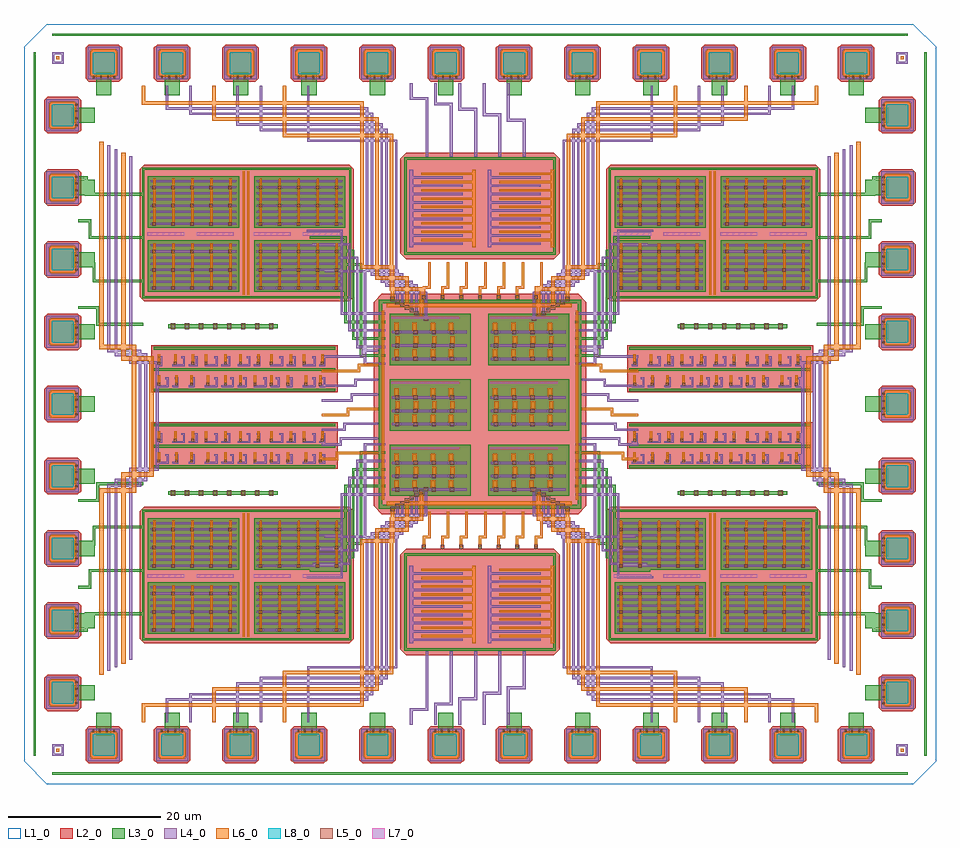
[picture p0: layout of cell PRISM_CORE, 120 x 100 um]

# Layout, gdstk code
from math import pi, radians
import gdstk
lib = gdstk.Library(unit=1e-6, precision=1e-09)
def R(c, l, rs):  # rectangles x0, y0, x1, y1
    for r in rs: c.add(gdstk.rectangle(r[:2], r[2:], *l))
def A(c, l, x, y, w, h, nx, ny, dx, dy):  # array of equal rectangles
    R(c, l, [(x+i*dx, y+j*dy, x+i*dx+w, y+j*dy+h) for i in range(nx) for j in range(ny)])
def P(c, l, *ps):  # polygons
    for p in ps: c.add(gdstk.Polygon(p, *l))
L1_0 = (1, 0)
L2_0 = (2, 0)
L3_0 = (3, 0)
L4_0 = (4, 0)
L5_0 = (5, 0)
L6_0 = (6, 0)
L7_0 = (7, 0)
L8_0 = (8, 0)

io_pad = lib.new_cell('IO_PAD')
P(io_pad, L2_0, [(-1.95,-2.45),(-2.4,-2),(-2.4,2),(-1.95,2.45),(1.95,2.45),(2.4,2),(2.4,-2),(1.95,-2.45)])
R(io_pad, L3_0, [(-1,-4.2,1,-1.2)])
R(io_pad, L4_0, [(-2.12,-2.1,2.12,-1.74), (-2.12,-1.74,-1.76,1.79), (1.76,-1.74,2.12,1.79), (-2.12,1.79,2.12,2.15)])
R(io_pad, L5_0, [(-1.45,-2,-1.22,-1.66), (-0.5,-2,-0.27,-1.66), (0.43,-2,0.66,-1.66), (1.26,-2,1.49,-1.66)])
P(io_pad, L6_0, [(-1.51,-1.8),(-1.8,-1.51),(-1.8,1.51),(-1.51,1.8),(1.51,1.8),(1.8,1.51),(1.8,-1.51),(1.51,-1.8)])
P(io_pad, L8_0, [(-1.33,-1.43),(-1.43,-1.33),(-1.43,1.33),(-1.33,1.43),(1.33,1.43),(1.43,1.33),(1.43,-1.33),(1.33,-1.43)])

sram_bank = lib.new_cell('SRAM_BANK')
P(sram_bank, L2_0, [(0.6,0),(0,0.6),(0,17.4),(0.6,18),(27.6,18),(28.2,17.4),(28.2,0.6),(27.6,0)])
R(sram_bank, L3_0, [(0.35,0.4,27.85,0.68), (0.35,0.68,0.63,17.32), (27.57,0.68,27.85,17.32), (1.1,1.25,13.1,8.05), (15.1,1.25,27.1,8.05), (1.1,9.7,13.1,16.5), (15.1,9.7,27.1,16.5), (0.35,17.32,27.85,17.6)])
A(sram_bank, L4_0, 1.45, 1.63, 11.25, 0.27, 1, 8, 0, 0.8)
A(sram_bank, L4_0, 15.45, 1.63, 11.25, 0.27, 1, 8, 0, 0.8)
A(sram_bank, L4_0, 1.45, 10.08, 11.25, 0.27, 1, 8, 0, 0.8)
A(sram_bank, L4_0, 15.45, 10.08, 11.25, 0.27, 1, 8, 0, 0.8)
A(sram_bank, L5_0, 1.7, 1.53, 0.46, 0.44, 5, 3, 2.5, 2.4)
A(sram_bank, L5_0, 15.7, 1.53, 0.46, 0.44, 5, 3, 2.5, 2.4)
A(sram_bank, L5_0, 1.7, 9.98, 0.46, 0.44, 5, 3, 2.5, 2.4)
A(sram_bank, L5_0, 15.7, 9.98, 0.46, 0.44, 5, 3, 2.5, 2.4)
A(sram_bank, L6_0, 1.82, 1.51, 0.29, 6.15, 5, 2, 2.5, 8.45)
A(sram_bank, L6_0, 15.82, 1.51, 0.29, 6.15, 5, 2, 2.5, 8.45)
R(sram_bank, L6_0, [(13.55,0.85,13.85,17.1), (14.15,0.85,14.45,17.1)])
R(sram_bank, L7_0, [(1,8.62,5.9,9.07), (7.5,8.62,12.4,9.07), (15,8.62,19.9,9.07), (21.5,8.62,26.4,9.07)])

logic_core = lib.new_cell('LOGIC_CORE')
P(logic_core, L2_0, [(1.1,0),(0,1.1),(0,27.9),(1.1,29),(26.9,29),(28,27.9),(28,1.1),(26.9,0)])
A(logic_core, L3_0, 2.1, 2.4, 10.65, 6.75, 1, 3, 0, 8.6)
A(logic_core, L3_0, 15.1, 2.4, 10.65, 6.75, 1, 3, 0, 8.6)
R(logic_core, L3_0, [(0.65,0.75,27.35,1.25), (0.65,1.25,1.15,27.75), (26.85,1.25,27.35,27.75), (0.65,27.75,27.35,28.25)])
A(logic_core, L4_0, 2.4, 3.08, 9.88, 0.33, 1, 3, 0, 1.75)
A(logic_core, L4_0, 15.4, 3.08, 9.88, 0.33, 1, 3, 0, 1.75)
A(logic_core, L4_0, 2.4, 11.68, 9.88, 0.33, 1, 3, 0, 1.75)
A(logic_core, L4_0, 15.4, 11.68, 9.88, 0.33, 1, 3, 0, 1.75)
A(logic_core, L4_0, 2.4, 20.28, 9.88, 0.33, 1, 3, 0, 1.75)
A(logic_core, L4_0, 15.4, 20.28, 9.88, 0.33, 1, 3, 0, 1.75)
A(logic_core, L5_0, 2.82, 2.98, 0.56, 0.55, 4, 3, 2.4, 1.75)
A(logic_core, L5_0, 15.82, 2.98, 0.56, 0.55, 4, 3, 2.4, 1.75)
A(logic_core, L5_0, 2.82, 11.58, 0.56, 0.55, 4, 3, 2.4, 1.75)
A(logic_core, L5_0, 15.82, 11.58, 0.56, 0.55, 4, 3, 2.4, 1.75)
A(logic_core, L5_0, 2.82, 20.18, 0.56, 0.55, 4, 3, 2.4, 1.75)
A(logic_core, L5_0, 15.82, 20.18, 0.56, 0.55, 4, 3, 2.4, 1.75)
A(logic_core, L6_0, 2.7, 3.45, 0.58, 1.03, 4, 2, 2.4, 3.5)
A(logic_core, L6_0, 15.7, 3.45, 0.58, 1.03, 4, 2, 2.4, 3.5)
A(logic_core, L6_0, 2.89, 5.2, 0.58, 1.03, 4, 3, 2.4, 8.6)
A(logic_core, L6_0, 15.89, 5.2, 0.58, 1.03, 4, 3, 2.4, 8.6)
A(logic_core, L6_0, 2.7, 12.05, 0.58, 1.03, 4, 2, 2.4, 3.5)
A(logic_core, L6_0, 15.7, 12.05, 0.58, 1.03, 4, 2, 2.4, 3.5)
A(logic_core, L6_0, 2.7, 20.65, 0.58, 1.03, 4, 2, 2.4, 3.5)
A(logic_core, L6_0, 15.7, 20.65, 0.58, 1.03, 4, 2, 2.4, 3.5)
R(logic_core, L6_0, [(1.75,1.2,26.05,1.71), (1.05,1.9,1.4,26.75), (26.6,1.9,26.95,26.75), (1.75,27.25,26.05,27.76)])
A(logic_core, L7_0, 2.35, 8.55, 8.9, 0.25, 1, 3, 0, 8.6)
A(logic_core, L7_0, 15.35, 8.55, 8.9, 0.25, 1, 3, 0, 8.6)

standard_cell_row = lib.new_cell('STANDARD_CELL_ROW')
R(standard_cell_row, L2_0, [(0,0,24.5,6.15)])
R(standard_cell_row, L3_0, [(0.3,0.12,24.2,0.46), (0.3,2.82,24.2,3.16), (0.3,5.62,24.2,5.96)])
P(standard_cell_row, L4_0, [(0.6,0.68),(0.6,0.92),(2.04,0.92),(2.04,1.73),(1.81,1.73),(1.81,1.97),(2.28,1.97),(2.28,0.68)],
  [(0.6,3.43),(0.6,3.67),(1.18,3.67),(1.18,4.48),(0.95,4.48),(0.95,4.72),(1.42,4.72),(1.42,3.43)],
  [(2.75,0.68),(2.75,0.92),(3.33,0.92),(3.33,1.73),(3.1,1.73),(3.1,1.97),(3.57,1.97),(3.57,0.68)],
  [(2.75,3.43),(2.75,3.67),(4.19,3.67),(4.19,4.48),(3.96,4.48),(3.96,4.72),(4.43,4.72),(4.43,3.43)],
  [(4.9,0.68),(4.9,0.92),(5.48,0.92),(5.48,1.73),(5.25,1.73),(5.25,1.97),(5.72,1.97),(5.72,0.68)],
  [(4.9,3.43),(4.9,3.67),(5.88,3.67),(5.88,4.48),(5.65,4.48),(5.65,4.72),(6.12,4.72),(6.12,3.43)],
  [(7.05,0.68),(7.05,0.92),(8.49,0.92),(8.49,1.73),(8.26,1.73),(8.26,1.97),(8.73,1.97),(8.73,0.68)],
  [(7.05,3.43),(7.05,3.67),(8.49,3.67),(8.49,4.48),(8.26,4.48),(8.26,4.72),(8.73,4.72),(8.73,3.43)],
  [(9.2,0.68),(9.2,0.92),(10.64,0.92),(10.64,1.73),(10.41,1.73),(10.41,1.97),(10.88,1.97),(10.88,0.68)],
  [(9.2,3.43),(9.2,3.67),(10.18,3.67),(10.18,4.48),(9.95,4.48),(9.95,4.72),(10.42,4.72),(10.42,3.43)],
  [(11.35,0.68),(11.35,0.92),(12.33,0.92),(12.33,1.73),(12.1,1.73),(12.1,1.97),(12.57,1.97),(12.57,0.68)],
  [(11.35,3.43),(11.35,3.67),(12.79,3.67),(12.79,4.48),(12.56,4.48),(12.56,4.72),(13.03,4.72),(13.03,3.43)],
  [(13.5,0.68),(13.5,0.92),(14.94,0.92),(14.94,1.73),(14.71,1.73),(14.71,1.97),(15.18,1.97),(15.18,0.68)],
  [(13.5,3.43),(13.5,3.67),(14.08,3.67),(14.08,4.48),(13.85,4.48),(13.85,4.72),(14.32,4.72),(14.32,3.43)],
  [(15.65,0.68),(15.65,0.92),(16.63,0.92),(16.63,1.73),(16.4,1.73),(16.4,1.97),(16.87,1.97),(16.87,0.68)],
  [(15.65,3.43),(15.65,3.67),(17.09,3.67),(17.09,4.48),(16.86,4.48),(16.86,4.72),(17.33,4.72),(17.33,3.43)],
  [(17.8,0.68),(17.8,0.92),(18.38,0.92),(18.38,1.73),(18.15,1.73),(18.15,1.97),(18.62,1.97),(18.62,0.68)],
  [(17.8,3.43),(17.8,3.67),(18.78,3.67),(18.78,4.48),(18.55,4.48),(18.55,4.72),(19.02,4.72),(19.02,3.43)],
  [(19.95,0.68),(19.95,0.92),(21.39,0.92),(21.39,1.73),(21.16,1.73),(21.16,1.97),(21.63,1.97),(21.63,0.68)],
  [(19.95,3.43),(19.95,3.67),(21.39,3.67),(21.39,4.48),(21.16,4.48),(21.16,4.72),(21.63,4.72),(21.63,3.43)],
  [(22.1,0.68),(22.1,0.92),(22.68,0.92),(22.68,1.73),(22.45,1.73),(22.45,1.97),(22.92,1.97),(22.92,0.68)],
  [(22.1,3.43),(22.1,3.67),(22.68,3.67),(22.68,4.48),(22.45,4.48),(22.45,4.72),(22.92,4.72),(22.92,3.43)])
A(standard_cell_row, L5_0, 13.46, 0.86, 0.38, 0.38, 3, 1, 2.15, 0)
R(standard_cell_row, L5_0, [(0.8,0.86,1.18,1.24), (3.13,0.86,3.51,1.24), (5.1,0.86,5.48,1.24), (7.25,0.86,7.63,1.24), (9.58,0.86,9.96,1.24), (11.55,0.86,11.93,1.24), (20.15,0.86,20.53,1.24), (22.06,0.86,22.44,1.24), (0.8,3.61,1.18,3.99), (2.95,3.61,3.33,3.99), (5.28,3.61,5.66,3.99), (7.01,3.61,7.39,3.99), (9.58,3.61,9.96,3.99), (11.55,3.61,11.93,3.99), (13.88,3.61,14.26,3.99), (15.61,3.61,15.99,3.99), (18.18,3.61,18.56,3.99), (19.91,3.61,20.29,3.99), (22.3,3.61,22.68,3.99)])
A(standard_cell_row, L6_0, 13.5, 1.1, 0.33, 1.13, 3, 1, 2.15, 0)
R(standard_cell_row, L6_0, [(0.84,1.1,1.17,2.23), (3.17,1.1,3.5,2.23), (5.14,1.1,5.47,2.23), (7.29,1.1,7.62,2.23), (9.62,1.1,9.95,2.23), (11.59,1.1,11.92,2.23), (20.19,1.1,20.52,2.23), (22.1,1.1,22.43,2.23), (0.84,3.85,1.17,4.98), (2.99,3.85,3.32,4.98), (5.32,3.85,5.65,4.98), (7.05,3.85,7.38,4.98), (9.62,3.85,9.95,4.98), (11.59,3.85,11.92,4.98), (13.92,3.85,14.25,4.98), (15.65,3.85,15.98,4.98), (18.22,3.85,18.55,4.98), (19.95,3.85,20.28,4.98), (22.34,3.85,22.67,4.98)])

clock_comb = lib.new_cell('CLOCK_COMB')
P(clock_comb, L2_0, [(0.8,0),(0,0.8),(0,13.2),(0.8,14),(20.2,14),(21,13.2),(21,0.8),(20.2,0)])
R(clock_comb, L3_0, [(0.55,0.56,20.45,0.9), (0.55,0.9,0.89,13.08), (20.11,0.9,20.45,13.08), (0.55,13.08,20.45,13.42)])
A(clock_comb, L4_0, 1.3, 1.88, 6.9, 0.31, 1, 9, 0, 1.09)
A(clock_comb, L4_0, 11.6, 1.88, 6.9, 0.31, 1, 9, 0, 1.09)
R(clock_comb, L4_0, [(1.2,1.6,1.71,11.8), (11.5,1.6,12.01,11.8)])
A(clock_comb, L6_0, 2.76, 2.39, 6.9, 0.28, 1, 9, 0, 1.09)
A(clock_comb, L6_0, 13.06, 2.39, 6.9, 0.28, 1, 9, 0, 1.09)
R(clock_comb, L6_0, [(9.49,1.6,9.97,11.8), (19.79,1.6,20.27,11.8)])

prism_core = lib.new_cell('PRISM_CORE')
P(prism_core, L1_0, [(3,0),(0,3),(0,97),(3,100),(117,100),(120,97),(120,3),(117,0)])
R(prism_core, L3_0, [(3.7,1.25,116.3,1.53), (1.25,3.7,1.53,96.3), (118.47,3.7,118.75,96.3), (19,38.05,33.4,38.54), (86,38.05,100.4,38.54), (19,60,33.4,60.49), (86,60,100.4,60.49), (3.7,98.47,116.3,98.75)])
P(prism_core, L3_0, [(37.59,27.935),(37.59,28.245),(42.155,28.245),(42.155,39.355),(47.5,39.355),(47.5,39.045),(42.465,39.045),(42.465,27.935)],
  [(38.37,29.715),(38.37,30.025),(43.175,30.025),(43.175,41.555),(47.5,41.555),(47.5,41.245),(43.485,41.245),(43.485,29.715)],
  [(39.15,31.495),(39.15,31.805),(44.195,31.805),(44.195,43.755),(47.5,43.755),(47.5,43.445),(44.505,43.445),(44.505,31.495)],
  [(7.15,20.02),(7.15,20.38),(8.02,20.38),(8.02,22.58),(15.7,22.58),(15.7,22.22),(8.38,22.22),(8.38,20.02)],
  [(7.15,25.72),(7.15,26.08),(8.52,26.08),(8.52,28.28),(15.7,28.28),(15.7,27.92),(8.88,27.92),(8.88,25.72)],
  [(7.15,31.42),(7.15,31.78),(9.02,31.78),(9.02,33.98),(15.7,33.98),(15.7,33.62),(9.38,33.62),(9.38,31.42)],
  [(7.15,37.12),(7.15,37.48),(9.52,37.48),(9.52,39.68),(15.7,39.68),(15.7,39.32),(9.88,39.32),(9.88,37.12)],
  [(42.155,60.645),(42.155,71.755),(37.59,71.755),(37.59,72.065),(42.465,72.065),(42.465,60.955),(47.5,60.955),(47.5,60.645)],
  [(43.175,58.445),(43.175,69.975),(38.37,69.975),(38.37,70.285),(43.485,70.285),(43.485,58.755),(47.5,58.755),(47.5,58.445)],
  [(44.195,56.245),(44.195,68.195),(39.15,68.195),(39.15,68.505),(44.505,68.505),(44.505,56.555),(47.5,56.555),(47.5,56.245)],
  [(8.02,77.42),(8.02,79.62),(7.15,79.62),(7.15,79.98),(8.38,79.98),(8.38,77.78),(15.7,77.78),(15.7,77.42)],
  [(8.52,71.72),(8.52,73.92),(7.15,73.92),(7.15,74.28),(8.88,74.28),(8.88,72.08),(15.7,72.08),(15.7,71.72)],
  [(9.02,66.02),(9.02,68.22),(7.15,68.22),(7.15,68.58),(9.38,68.58),(9.38,66.38),(15.7,66.38),(15.7,66.02)],
  [(9.52,60.32),(9.52,62.52),(7.15,62.52),(7.15,62.88),(9.88,62.88),(9.88,60.68),(15.7,60.68),(15.7,60.32)],
  [(77.535,27.935),(77.535,39.045),(72.5,39.045),(72.5,39.355),(77.845,39.355),(77.845,28.245),(82.41,28.245),(82.41,27.935)],
  [(76.515,29.715),(76.515,41.245),(72.5,41.245),(72.5,41.555),(76.825,41.555),(76.825,30.025),(81.63,30.025),(81.63,29.715)],
  [(75.495,31.495),(75.495,43.445),(72.5,43.445),(72.5,43.755),(75.805,43.755),(75.805,31.805),(80.85,31.805),(80.85,31.495)],
  [(111.62,20.02),(111.62,22.22),(104.3,22.22),(104.3,22.58),(111.98,22.58),(111.98,20.38),(112.85,20.38),(112.85,20.02)],
  [(111.12,25.72),(111.12,27.92),(104.3,27.92),(104.3,28.28),(111.48,28.28),(111.48,26.08),(112.85,26.08),(112.85,25.72)],
  [(110.62,31.42),(110.62,33.62),(104.3,33.62),(104.3,33.98),(110.98,33.98),(110.98,31.78),(112.85,31.78),(112.85,31.42)],
  [(110.12,37.12),(110.12,39.32),(104.3,39.32),(104.3,39.68),(110.48,39.68),(110.48,37.48),(112.85,37.48),(112.85,37.12)],
  [(72.5,60.645),(72.5,60.955),(77.535,60.955),(77.535,72.065),(82.41,72.065),(82.41,71.755),(77.845,71.755),(77.845,60.645)],
  [(72.5,58.445),(72.5,58.755),(76.515,58.755),(76.515,70.285),(81.63,70.285),(81.63,69.975),(76.825,69.975),(76.825,58.445)],
  [(72.5,56.245),(72.5,56.555),(75.495,56.555),(75.495,68.505),(80.85,68.505),(80.85,68.195),(75.805,68.195),(75.805,56.245)],
  [(104.3,77.42),(104.3,77.78),(111.62,77.78),(111.62,79.98),(112.85,79.98),(112.85,79.62),(111.98,79.62),(111.98,77.42)],
  [(104.3,71.72),(104.3,72.08),(111.12,72.08),(111.12,74.28),(112.85,74.28),(112.85,73.92),(111.48,73.92),(111.48,71.72)],
  [(104.3,66.02),(104.3,66.38),(110.62,66.38),(110.62,68.58),(112.85,68.58),(112.85,68.22),(110.98,68.22),(110.98,66.02)],
  [(104.3,60.32),(104.3,60.68),(110.12,60.68),(110.12,62.88),(112.85,62.88),(112.85,62.52),(110.48,62.52),(110.48,60.32)])
R(prism_core, L4_0, [(3.7,3.7,5.2,3.95), (114.8,3.7,116.3,3.95), (3.7,3.95,3.95,4.95), (4.95,3.95,5.2,4.95), (114.8,3.95,115.05,4.95), (116.05,3.95,116.3,4.95), (3.7,4.95,5.2,5.2), (114.8,4.95,116.3,5.2), (3.7,94.8,5.2,95.05), (114.8,94.8,116.3,95.05), (3.7,95.05,3.95,96.05), (4.95,95.05,5.2,96.05), (114.8,95.05,115.05,96.05), (116.05,95.05,116.3,96.05), (3.7,96.05,5.2,96.3), (114.8,96.05,116.3,96.3)])
P(prism_core, L4_0, [(10.98,14.88),(10.98,39.48),(15.08,39.48),(15.08,56.81),(10.98,56.81),(10.98,84.02),(11.34,84.02),(11.34,57.17),(15.44,57.17),(15.44,39.12),(11.34,39.12),(11.34,14.88)],
  [(11.94,15.36),(11.94,40.18),(15.84,40.18),(15.84,56.3),(11.94,56.3),(11.94,83.54),(12.3,83.54),(12.3,56.66),(16.2,56.66),(16.2,39.82),(12.3,39.82),(12.3,15.36)],
  [(13.86,16.32),(13.86,41.58),(17.36,41.58),(17.36,55.28),(13.86,55.28),(13.86,82.58),(14.22,82.58),(14.22,55.64),(17.72,55.64),(17.72,41.22),(14.22,41.22),(14.22,16.32)],
  [(18.65,8.15),(18.65,11.26),(44.99,11.26),(44.99,32.63),(48.98,32.63),(48.98,36.57),(49.28,36.57),(49.28,32.33),(45.29,32.33),(45.29,10.96),(18.95,10.96),(18.95,8.15)],
  [(21.75,8.15),(21.75,11.97),(45.63,11.97),(45.63,33.11),(49.61,33.11),(49.61,36.94),(49.91,36.94),(49.91,32.81),(45.93,32.81),(45.93,11.67),(22.05,11.67),(22.05,8.15)],
  [(27.95,8.15),(27.95,13.39),(46.91,13.39),(46.91,34.07),(50.87,34.07),(50.87,37.68),(51.17,37.68),(51.17,33.77),(47.21,33.77),(47.21,13.09),(28.25,13.09),(28.25,8.15)],
  [(31.05,8.15),(31.05,14.1),(47.55,14.1),(47.55,34.55),(51.5,34.55),(51.5,38.05),(51.8,38.05),(51.8,34.25),(47.85,34.25),(47.85,13.8),(31.35,13.8),(31.35,8.15)],
  [(37.25,8.15),(37.25,15.52),(48.83,15.52),(48.83,35.51),(52.76,35.51),(52.76,38.79),(53.06,38.79),(53.06,35.21),(49.13,35.21),(49.13,15.22),(37.55,15.22),(37.55,8.15)],
  [(37.2,27.045),(37.2,27.355),(41.645,27.355),(41.645,38.255),(47.5,38.255),(47.5,37.945),(41.955,37.945),(41.955,27.045)],
  [(37.98,28.825),(37.98,29.135),(42.665,29.135),(42.665,40.455),(47.5,40.455),(47.5,40.145),(42.975,40.145),(42.975,28.825)],
  [(38.76,30.605),(38.76,30.915),(43.685,30.915),(43.685,42.655),(47.5,42.655),(47.5,42.345),(43.995,42.345),(43.995,30.605)],
  [(39.54,32.385),(39.54,32.695),(44.705,32.695),(44.705,44.855),(47.5,44.855),(47.5,44.545),(45.015,44.545),(45.015,32.385)],
  [(48.98,63.43),(48.98,67.37),(44.99,67.37),(44.99,88.74),(18.65,88.74),(18.65,91.85),(18.95,91.85),(18.95,89.04),(45.29,89.04),(45.29,67.67),(49.28,67.67),(49.28,63.43)],
  [(49.61,63.06),(49.61,66.89),(45.63,66.89),(45.63,88.03),(21.75,88.03),(21.75,91.85),(22.05,91.85),(22.05,88.33),(45.93,88.33),(45.93,67.19),(49.91,67.19),(49.91,63.06)],
  [(50.87,62.32),(50.87,65.93),(46.91,65.93),(46.91,86.61),(27.95,86.61),(27.95,91.85),(28.25,91.85),(28.25,86.91),(47.21,86.91),(47.21,66.23),(51.17,66.23),(51.17,62.32)],
  [(51.5,61.95),(51.5,65.45),(47.55,65.45),(47.55,85.9),(31.05,85.9),(31.05,91.85),(31.35,91.85),(31.35,86.2),(47.85,86.2),(47.85,65.75),(51.8,65.75),(51.8,61.95)],
  [(52.76,61.21),(52.76,64.49),(48.83,64.49),(48.83,84.48),(37.25,84.48),(37.25,91.85),(37.55,91.85),(37.55,84.78),(49.13,84.78),(49.13,64.79),(53.06,64.79),(53.06,61.21)],
  [(41.645,61.745),(41.645,72.645),(37.2,72.645),(37.2,72.955),(41.955,72.955),(41.955,62.055),(47.5,62.055),(47.5,61.745)],
  [(42.665,59.545),(42.665,70.865),(37.98,70.865),(37.98,71.175),(42.975,71.175),(42.975,59.855),(47.5,59.855),(47.5,59.545)],
  [(43.685,57.345),(43.685,69.085),(38.76,69.085),(38.76,69.395),(43.995,69.395),(43.995,57.655),(47.5,57.655),(47.5,57.345)],
  [(44.705,55.145),(44.705,67.305),(39.54,67.305),(39.54,67.615),(45.015,67.615),(45.015,55.455),(47.5,55.455),(47.5,55.145)],
  [(39.2,44.53),(39.2,44.83),(41.53,44.83),(41.53,45.62),(46.6,45.62),(46.6,45.32),(41.83,45.32),(41.83,44.53)],
  [(39.2,46.46),(39.2,46.76),(42.01,46.76),(42.01,47.55),(46.6,47.55),(46.6,47.25),(42.31,47.25),(42.31,46.46)],
  [(39.2,50.32),(39.2,50.62),(42.97,50.62),(42.97,51.41),(46.6,51.41),(46.6,51.11),(43.27,51.11),(43.27,50.32)],
  [(39.2,52.25),(39.2,52.55),(43.45,52.55),(43.45,53.34),(46.6,53.34),(46.6,53.04),(43.75,53.04),(43.75,52.25)],
  [(39.2,56.11),(39.2,56.41),(44.41,56.41),(44.41,57.2),(46.6,57.2),(46.6,56.9),(44.71,56.9),(44.71,56.11)],
  [(108.66,14.88),(108.66,39.12),(104.56,39.12),(104.56,57.17),(108.66,57.17),(108.66,84.02),(109.02,84.02),(109.02,56.81),(104.92,56.81),(104.92,39.48),(109.02,39.48),(109.02,14.88)],
  [(107.7,15.36),(107.7,39.82),(103.8,39.82),(103.8,56.66),(107.7,56.66),(107.7,83.54),(108.06,83.54),(108.06,56.3),(104.16,56.3),(104.16,40.18),(108.06,40.18),(108.06,15.36)],
  [(105.78,16.32),(105.78,41.22),(102.28,41.22),(102.28,55.64),(105.78,55.64),(105.78,82.58),(106.14,82.58),(106.14,55.28),(102.64,55.28),(102.64,41.58),(106.14,41.58),(106.14,16.32)],
  [(101.05,8.15),(101.05,10.96),(74.71,10.96),(74.71,32.33),(70.72,32.33),(70.72,36.57),(71.02,36.57),(71.02,32.63),(75.01,32.63),(75.01,11.26),(101.35,11.26),(101.35,8.15)],
  [(97.95,8.15),(97.95,11.67),(74.07,11.67),(74.07,32.81),(70.09,32.81),(70.09,36.94),(70.39,36.94),(70.39,33.11),(74.37,33.11),(74.37,11.97),(98.25,11.97),(98.25,8.15)],
  [(91.75,8.15),(91.75,13.09),(72.79,13.09),(72.79,33.77),(68.83,33.77),(68.83,37.68),(69.13,37.68),(69.13,34.07),(73.09,34.07),(73.09,13.39),(92.05,13.39),(92.05,8.15)],
  [(88.65,8.15),(88.65,13.8),(72.15,13.8),(72.15,34.25),(68.2,34.25),(68.2,38.05),(68.5,38.05),(68.5,34.55),(72.45,34.55),(72.45,14.1),(88.95,14.1),(88.95,8.15)],
  [(82.45,8.15),(82.45,15.22),(70.87,15.22),(70.87,35.21),(66.94,35.21),(66.94,38.79),(67.24,38.79),(67.24,35.51),(71.17,35.51),(71.17,15.52),(82.75,15.52),(82.75,8.15)],
  [(78.045,27.045),(78.045,37.945),(72.5,37.945),(72.5,38.255),(78.355,38.255),(78.355,27.355),(82.8,27.355),(82.8,27.045)],
  [(77.025,28.825),(77.025,40.145),(72.5,40.145),(72.5,40.455),(77.335,40.455),(77.335,29.135),(82.02,29.135),(82.02,28.825)],
  [(76.005,30.605),(76.005,42.345),(72.5,42.345),(72.5,42.655),(76.315,42.655),(76.315,30.915),(81.24,30.915),(81.24,30.605)],
  [(74.985,32.385),(74.985,44.545),(72.5,44.545),(72.5,44.855),(75.295,44.855),(75.295,32.695),(80.46,32.695),(80.46,32.385)],
  [(70.72,63.43),(70.72,67.67),(74.71,67.67),(74.71,89.04),(101.05,89.04),(101.05,91.85),(101.35,91.85),(101.35,88.74),(75.01,88.74),(75.01,67.37),(71.02,67.37),(71.02,63.43)],
  [(70.09,63.06),(70.09,67.19),(74.07,67.19),(74.07,88.33),(97.95,88.33),(97.95,91.85),(98.25,91.85),(98.25,88.03),(74.37,88.03),(74.37,66.89),(70.39,66.89),(70.39,63.06)],
  [(68.83,62.32),(68.83,66.23),(72.79,66.23),(72.79,86.91),(91.75,86.91),(91.75,91.85),(92.05,91.85),(92.05,86.61),(73.09,86.61),(73.09,65.93),(69.13,65.93),(69.13,62.32)],
  [(68.2,61.95),(68.2,65.75),(72.15,65.75),(72.15,86.2),(88.65,86.2),(88.65,91.85),(88.95,91.85),(88.95,85.9),(72.45,85.9),(72.45,65.45),(68.5,65.45),(68.5,61.95)],
  [(66.94,61.21),(66.94,64.79),(70.87,64.79),(70.87,84.78),(82.45,84.78),(82.45,91.85),(82.75,91.85),(82.75,84.48),(71.17,84.48),(71.17,64.49),(67.24,64.49),(67.24,61.21)],
  [(72.5,61.745),(72.5,62.055),(78.045,62.055),(78.045,72.955),(82.8,72.955),(82.8,72.645),(78.355,72.645),(78.355,61.745)],
  [(72.5,59.545),(72.5,59.855),(77.025,59.855),(77.025,71.175),(82.02,71.175),(82.02,70.865),(77.335,70.865),(77.335,59.545)],
  [(72.5,57.345),(72.5,57.655),(76.005,57.655),(76.005,69.395),(81.24,69.395),(81.24,69.085),(76.315,69.085),(76.315,57.345)],
  [(72.5,55.145),(72.5,55.455),(74.985,55.455),(74.985,67.615),(80.46,67.615),(80.46,67.305),(75.295,67.305),(75.295,55.145)],
  [(78.17,44.53),(78.17,45.32),(73.4,45.32),(73.4,45.62),(78.47,45.62),(78.47,44.83),(80.8,44.83),(80.8,44.53)],
  [(77.69,46.46),(77.69,47.25),(73.4,47.25),(73.4,47.55),(77.99,47.55),(77.99,46.76),(80.8,46.76),(80.8,46.46)],
  [(76.73,50.32),(76.73,51.11),(73.4,51.11),(73.4,51.41),(77.03,51.41),(77.03,50.62),(80.8,50.62),(80.8,50.32)],
  [(76.25,52.25),(76.25,53.04),(73.4,53.04),(73.4,53.34),(76.55,53.34),(76.55,52.55),(80.8,52.55),(80.8,52.25)],
  [(75.29,56.11),(75.29,56.9),(73.4,56.9),(73.4,57.2),(75.59,57.2),(75.59,56.41),(80.8,56.41),(80.8,56.11)],
  [(50.75,7.8),(50.75,9.99),(52.83,9.99),(52.83,17.45),(53.21,17.45),(53.21,9.61),(51.13,9.61),(51.13,7.8)],
  [(53.95,7.8),(53.95,10.71),(56.03,10.71),(56.03,17.45),(56.41,17.45),(56.41,10.33),(54.33,10.33),(54.33,7.8)],
  [(57.15,7.8),(57.15,11.43),(59.23,11.43),(59.23,17.45),(59.61,17.45),(59.61,11.05),(57.53,11.05),(57.53,7.8)],
  [(60.35,7.8),(60.35,12.15),(62.43,12.15),(62.43,17.45),(62.81,17.45),(62.81,11.77),(60.73,11.77),(60.73,7.8)],
  [(63.55,7.8),(63.55,12.87),(65.63,12.87),(65.63,17.45),(66.01,17.45),(66.01,12.49),(63.93,12.49),(63.93,7.8)],
  [(52.83,82.55),(52.83,90.01),(50.75,90.01),(50.75,92.2),(51.13,92.2),(51.13,90.39),(53.21,90.39),(53.21,82.55)],
  [(56.03,82.55),(56.03,89.29),(53.95,89.29),(53.95,92.2),(54.33,92.2),(54.33,89.67),(56.41,89.67),(56.41,82.55)],
  [(59.23,82.55),(59.23,88.57),(57.15,88.57),(57.15,92.2),(57.53,92.2),(57.53,88.95),(59.61,88.95),(59.61,82.55)],
  [(62.43,82.55),(62.43,87.85),(60.35,87.85),(60.35,92.2),(60.73,92.2),(60.73,88.23),(62.81,88.23),(62.81,82.55)],
  [(65.63,82.55),(65.63,87.13),(63.55,87.13),(63.55,92.2),(63.93,92.2),(63.93,87.51),(66.01,87.51),(66.01,82.55)])
A(prism_core, L5_0, 52.36, 30.94, 0.5, 0.52, 7, 2, 2.46, 32.84)
A(prism_core, L5_0, 19.32, 37.9, 0.55, 0.75, 8, 2, 1.85, 21.95)
A(prism_core, L5_0, 86.32, 37.9, 0.55, 0.75, 8, 2, 1.85, 21.95)
R(prism_core, L5_0, [(48.22,35.92,48.78,36.48), (71.22,35.92,71.78,36.48), (48.85,36.29,49.41,36.85), (70.59,36.29,71.15,36.85), (49.48,36.66,50.04,37.22), (69.96,36.66,70.52,37.22), (50.11,37.03,50.67,37.59), (69.33,37.03,69.89,37.59), (50.74,37.4,51.3,37.96), (68.7,37.4,69.26,37.96), (51.37,37.77,51.93,38.33), (68.07,37.77,68.63,38.33), (52,38.14,52.56,38.7), (67.44,38.14,68,38.7), (52.63,38.51,53.19,39.07), (66.81,38.51,67.37,39.07), (52.63,60.93,53.19,61.49), (66.81,60.93,67.37,61.49), (52,61.3,52.56,61.86), (67.44,61.3,68,61.86), (51.37,61.67,51.93,62.23), (68.07,61.67,68.63,62.23), (50.74,62.04,51.3,62.6), (68.7,62.04,69.26,62.6), (50.11,62.41,50.67,62.97), (69.33,62.41,69.89,62.97), (49.48,62.78,50.04,63.34), (69.96,62.78,70.52,63.34), (48.85,63.15,49.41,63.71), (70.59,63.15,71.15,63.71), (48.22,63.52,48.78,64.08), (71.22,63.52,71.78,64.08)])
R(prism_core, L6_0, [(4.23,4.23,4.67,4.67), (115.33,4.23,115.77,4.67), (4.23,95.33,4.67,95.77), (115.33,95.33,115.77,95.77)])
P(prism_core, L6_0, [(9.905,14.4),(9.905,38.895),(14.205,38.895),(14.205,57.205),(9.905,57.205),(9.905,84.5),(10.495,84.5),(10.495,57.795),(14.795,57.795),(14.795,38.305),(10.495,38.305),(10.495,14.4)],
  [(12.785,15.84),(12.785,40.995),(16.485,40.995),(16.485,55.675),(12.785,55.675),(12.785,83.06),(13.375,83.06),(13.375,56.265),(17.075,56.265),(17.075,40.405),(13.375,40.405),(13.375,15.84)],
  [(15.47,8.15),(15.47,10.63),(44.27,10.63),(44.27,32.23),(48.27,32.23),(48.27,36.2),(48.73,36.2),(48.73,31.77),(44.73,31.77),(44.73,10.17),(15.93,10.17),(15.93,8.15)],
  [(24.77,8.15),(24.77,12.76),(46.19,12.76),(46.19,33.67),(50.16,33.67),(50.16,37.31),(50.62,37.31),(50.62,33.21),(46.65,33.21),(46.65,12.3),(25.23,12.3),(25.23,8.15)],
  [(34.07,8.15),(34.07,14.89),(48.11,14.89),(48.11,35.11),(52.05,35.11),(52.05,38.42),(52.51,38.42),(52.51,34.65),(48.57,34.65),(48.57,14.43),(34.53,14.43),(34.53,8.15)],
  [(48.27,63.8),(48.27,67.77),(44.27,67.77),(44.27,89.37),(15.47,89.37),(15.47,91.85),(15.93,91.85),(15.93,89.83),(44.73,89.83),(44.73,68.23),(48.73,68.23),(48.73,63.8)],
  [(50.16,62.69),(50.16,66.33),(46.19,66.33),(46.19,87.24),(24.77,87.24),(24.77,91.85),(25.23,91.85),(25.23,87.7),(46.65,87.7),(46.65,66.79),(50.62,66.79),(50.62,62.69)],
  [(52.05,61.58),(52.05,64.89),(48.11,64.89),(48.11,85.11),(34.07,85.11),(34.07,91.85),(34.53,91.85),(34.53,85.57),(48.57,85.57),(48.57,65.35),(52.51,65.35),(52.51,61.58)],
  [(39.2,42.6),(39.2,42.9),(41.05,42.9),(41.05,43.69),(46.6,43.69),(46.6,43.39),(41.35,43.39),(41.35,42.6)],
  [(39.2,48.39),(39.2,48.69),(42.49,48.69),(42.49,49.48),(46.6,49.48),(46.6,49.18),(42.79,49.18),(42.79,48.39)],
  [(39.2,54.18),(39.2,54.48),(43.93,54.48),(43.93,55.27),(46.6,55.27),(46.6,54.97),(44.23,54.97),(44.23,54.18)],
  [(109.505,14.4),(109.505,38.305),(105.205,38.305),(105.205,57.795),(109.505,57.795),(109.505,84.5),(110.095,84.5),(110.095,57.205),(105.795,57.205),(105.795,38.895),(110.095,38.895),(110.095,14.4)],
  [(106.625,15.84),(106.625,40.405),(102.925,40.405),(102.925,56.265),(106.625,56.265),(106.625,83.06),(107.215,83.06),(107.215,55.675),(103.515,55.675),(103.515,40.995),(107.215,40.995),(107.215,15.84)],
  [(104.07,8.15),(104.07,10.17),(75.27,10.17),(75.27,31.77),(71.27,31.77),(71.27,36.2),(71.73,36.2),(71.73,32.23),(75.73,32.23),(75.73,10.63),(104.53,10.63),(104.53,8.15)],
  [(94.77,8.15),(94.77,12.3),(73.35,12.3),(73.35,33.21),(69.38,33.21),(69.38,37.31),(69.84,37.31),(69.84,33.67),(73.81,33.67),(73.81,12.76),(95.23,12.76),(95.23,8.15)],
  [(85.47,8.15),(85.47,14.43),(71.43,14.43),(71.43,34.65),(67.49,34.65),(67.49,38.42),(67.95,38.42),(67.95,35.11),(71.89,35.11),(71.89,14.89),(85.93,14.89),(85.93,8.15)],
  [(71.27,63.8),(71.27,68.23),(75.27,68.23),(75.27,89.83),(104.07,89.83),(104.07,91.85),(104.53,91.85),(104.53,89.37),(75.73,89.37),(75.73,67.77),(71.73,67.77),(71.73,63.8)],
  [(69.38,62.69),(69.38,66.79),(73.35,66.79),(73.35,87.7),(94.77,87.7),(94.77,91.85),(95.23,91.85),(95.23,87.24),(73.81,87.24),(73.81,66.33),(69.84,66.33),(69.84,62.69)],
  [(67.49,61.58),(67.49,65.35),(71.43,65.35),(71.43,85.57),(85.47,85.57),(85.47,91.85),(85.93,91.85),(85.93,85.11),(71.89,85.11),(71.89,64.89),(67.95,64.89),(67.95,61.58)],
  [(78.65,42.6),(78.65,43.39),(73.4,43.39),(73.4,43.69),(78.95,43.69),(78.95,42.9),(80.8,42.9),(80.8,42.6)],
  [(77.21,48.39),(77.21,49.18),(73.4,49.18),(73.4,49.48),(77.51,49.48),(77.51,48.69),(80.8,48.69),(80.8,48.39)],
  [(75.77,54.18),(75.77,54.97),(73.4,54.97),(73.4,55.27),(76.07,55.27),(76.07,54.48),(80.8,54.48),(80.8,54.18)],
  [(52.435,31.16),(52.435,32.675),(53.165,32.675),(53.165,35.8),(53.495,35.8),(53.495,32.345),(52.765,32.345),(52.765,31.16)],
  [(52.435,64),(52.435,65.515),(53.165,65.515),(53.165,68.64),(53.495,68.64),(53.495,65.185),(52.765,65.185),(52.765,64)],
  [(54.895,31.16),(54.895,32.675),(55.625,32.675),(55.625,35.8),(55.955,35.8),(55.955,32.345),(55.225,32.345),(55.225,31.16)],
  [(54.895,64),(54.895,65.515),(55.625,65.515),(55.625,68.64),(55.955,68.64),(55.955,65.185),(55.225,65.185),(55.225,64)],
  [(57.355,31.16),(57.355,32.675),(58.085,32.675),(58.085,35.8),(58.415,35.8),(58.415,32.345),(57.685,32.345),(57.685,31.16)],
  [(57.355,64),(57.355,65.515),(58.085,65.515),(58.085,68.64),(58.415,68.64),(58.415,65.185),(57.685,65.185),(57.685,64)],
  [(59.815,31.16),(59.815,32.675),(60.545,32.675),(60.545,35.8),(60.875,35.8),(60.875,32.345),(60.145,32.345),(60.145,31.16)],
  [(59.815,64),(59.815,65.515),(60.545,65.515),(60.545,68.64),(60.875,68.64),(60.875,65.185),(60.145,65.185),(60.145,64)],
  [(62.275,31.16),(62.275,32.675),(63.005,32.675),(63.005,35.8),(63.335,35.8),(63.335,32.345),(62.605,32.345),(62.605,31.16)],
  [(62.275,64),(62.275,65.515),(63.005,65.515),(63.005,68.64),(63.335,68.64),(63.335,65.185),(62.605,65.185),(62.605,64)],
  [(64.735,31.16),(64.735,32.675),(65.465,32.675),(65.465,35.8),(65.795,35.8),(65.795,32.345),(65.065,32.345),(65.065,31.16)],
  [(64.735,64),(64.735,65.515),(65.465,65.515),(65.465,68.64),(65.795,68.64),(65.795,65.185),(65.065,65.185),(65.065,64)],
  [(67.195,31.16),(67.195,32.675),(67.925,32.675),(67.925,35.8),(68.255,35.8),(68.255,32.345),(67.525,32.345),(67.525,31.16)],
  [(67.195,64),(67.195,65.515),(67.925,65.515),(67.925,68.64),(68.255,68.64),(68.255,65.185),(67.525,65.185),(67.525,64)])
prism_core.add(gdstk.Reference(io_pad, (10.5,5.15), rotation=pi))
prism_core.add(gdstk.Reference(io_pad, (10.5,94.85)))
prism_core.add(gdstk.Reference(io_pad, (19.5,5.15), rotation=pi))
prism_core.add(gdstk.Reference(io_pad, (19.5,94.85)))
prism_core.add(gdstk.Reference(io_pad, (28.5,5.15), rotation=pi))
prism_core.add(gdstk.Reference(io_pad, (28.5,94.85)))
prism_core.add(gdstk.Reference(io_pad, (37.5,5.15), rotation=pi))
prism_core.add(gdstk.Reference(io_pad, (37.5,94.85)))
prism_core.add(gdstk.Reference(io_pad, (46.5,5.15), rotation=pi))
prism_core.add(gdstk.Reference(io_pad, (46.5,94.85)))
prism_core.add(gdstk.Reference(io_pad, (55.5,5.15), rotation=pi))
prism_core.add(gdstk.Reference(io_pad, (55.5,94.85)))
prism_core.add(gdstk.Reference(io_pad, (64.5,5.15), rotation=pi))
prism_core.add(gdstk.Reference(io_pad, (64.5,94.85)))
prism_core.add(gdstk.Reference(io_pad, (73.5,5.15), rotation=pi))
prism_core.add(gdstk.Reference(io_pad, (73.5,94.85)))
prism_core.add(gdstk.Reference(io_pad, (82.5,5.15), rotation=pi))
prism_core.add(gdstk.Reference(io_pad, (82.5,94.85)))
prism_core.add(gdstk.Reference(io_pad, (91.5,5.15), rotation=pi))
prism_core.add(gdstk.Reference(io_pad, (91.5,94.85)))
prism_core.add(gdstk.Reference(io_pad, (100.5,5.15), rotation=pi))
prism_core.add(gdstk.Reference(io_pad, (100.5,94.85)))
prism_core.add(gdstk.Reference(io_pad, (109.5,5.15), rotation=pi))
prism_core.add(gdstk.Reference(io_pad, (109.5,94.85)))
prism_core.add(gdstk.Reference(io_pad, (5.1,12), rotation=pi/2))
prism_core.add(gdstk.Reference(io_pad, (114.9,12), rotation=3*pi/2))
prism_core.add(gdstk.Reference(io_pad, (5.1,21.5), rotation=pi/2))
prism_core.add(gdstk.Reference(io_pad, (114.9,21.5), rotation=3*pi/2))
prism_core.add(gdstk.Reference(io_pad, (5.1,31), rotation=pi/2))
prism_core.add(gdstk.Reference(io_pad, (114.9,31), rotation=3*pi/2))
prism_core.add(gdstk.Reference(io_pad, (5.1,40.5), rotation=pi/2))
prism_core.add(gdstk.Reference(io_pad, (114.9,40.5), rotation=3*pi/2))
prism_core.add(gdstk.Reference(io_pad, (5.1,50), rotation=pi/2))
prism_core.add(gdstk.Reference(io_pad, (114.9,50), rotation=3*pi/2))
prism_core.add(gdstk.Reference(io_pad, (5.1,59.5), rotation=pi/2))
prism_core.add(gdstk.Reference(io_pad, (114.9,59.5), rotation=3*pi/2))
prism_core.add(gdstk.Reference(io_pad, (5.1,69), rotation=pi/2))
prism_core.add(gdstk.Reference(io_pad, (114.9,69), rotation=3*pi/2))
prism_core.add(gdstk.Reference(io_pad, (5.1,78.5), rotation=pi/2))
prism_core.add(gdstk.Reference(io_pad, (114.9,78.5), rotation=3*pi/2))
prism_core.add(gdstk.Reference(io_pad, (5.1,88), rotation=pi/2))
prism_core.add(gdstk.Reference(io_pad, (114.9,88), rotation=3*pi/2))
prism_core.add(gdstk.Reference(sram_bank, (15.2,18.5)))
prism_core.add(gdstk.Reference(sram_bank, (15.2,63.5)))
prism_core.add(gdstk.Reference(sram_bank, (76.6,18.5)))
prism_core.add(gdstk.Reference(sram_bank, (76.6,63.5)))
prism_core.add(gdstk.Reference(logic_core, (46,35.5)))
prism_core.add(gdstk.Reference(standard_cell_row, (16.75,41.45)))
prism_core.add(gdstk.Reference(standard_cell_row, (16.75,51.55)))
prism_core.add(gdstk.Reference(standard_cell_row, (79.35,41.45)))
prism_core.add(gdstk.Reference(standard_cell_row, (79.35,51.55)))
prism_core.add(gdstk.Reference(clock_comb, (49.5,16.95)))
prism_core.add(gdstk.Reference(clock_comb, (49.5,69.05)))

lib.write_gds('PRISM_CORE.gds')
